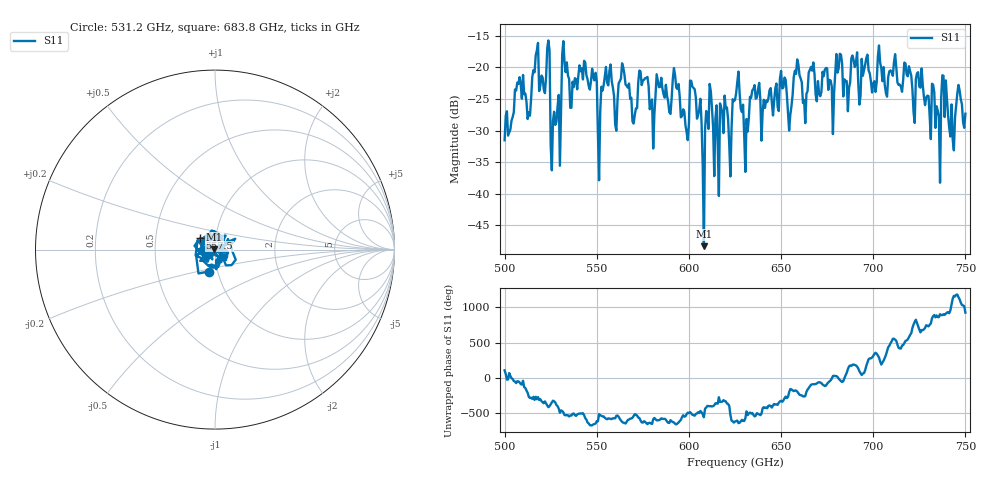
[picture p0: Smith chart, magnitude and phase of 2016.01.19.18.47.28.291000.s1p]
!Created with skrf (http://scikit-rf.org).
# GHz S RI R 50.0
!freq ReS11 ImS11
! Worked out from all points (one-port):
!   401 points, 500 GHz to 750 GHz, reference 50 ohm
!   lowest |S11| = -48.3 dB at 608.1 GHz (marker M1), VSWR 1.01, Z = 49.6 + j0.0893 ohm
!   |S11| at or under -10 dB: start of sweep to end of sweep
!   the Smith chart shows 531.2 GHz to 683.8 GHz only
!   S11 on the Smith chart (normalised r, x): 531.2 GHz: 0.91, -0.22; 557.5 GHz: 0.84, +0.11; 683.8 GHz: 1.09, -0.09
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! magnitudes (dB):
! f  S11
! 500 GHz  -31.5
! 507.5 GHz  -22.6
! 513.1 GHz  -27.1
! 516.9 GHz  -18.1
! 523.1 GHz  -16.9
! 526.2 GHz  -28.4
! 531.2 GHz  -17.9
! 548.8 GHz  -22.0
! 551.9 GHz  -27.0
! 557.5 GHz  -19.5
! 562.5 GHz  -22.2
! 570.6 GHz  -27.5
! 593.8 GHz  -23.4
! 598.8 GHz  -30.3
! 601.9 GHz  -23.1
! 608.1 GHz  -48.3
! 610.6 GHz  -29.7
! 615 GHz  -26.0
! 625 GHz  -25.1
! 631.2 GHz  -28.2
! 634.4 GHz  -23.6
! 656.2 GHz  -24.4
! 683.8 GHz  -24.6
! 687.5 GHz  -22.3
! 718.8 GHz  -21.4
! 735 GHz  -26.8
! 738.1 GHz  -21.3
! 750 GHz  -27.3
